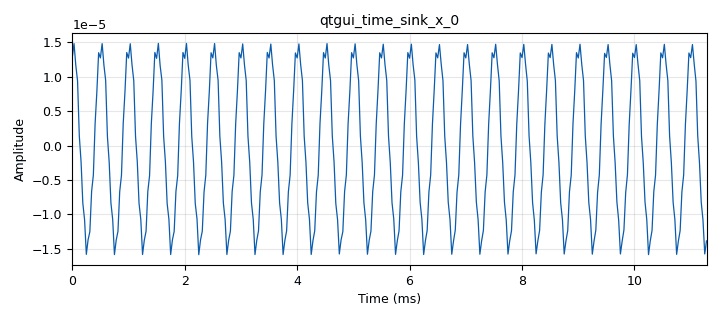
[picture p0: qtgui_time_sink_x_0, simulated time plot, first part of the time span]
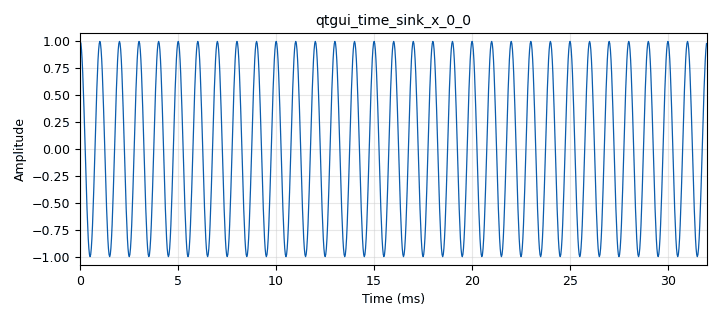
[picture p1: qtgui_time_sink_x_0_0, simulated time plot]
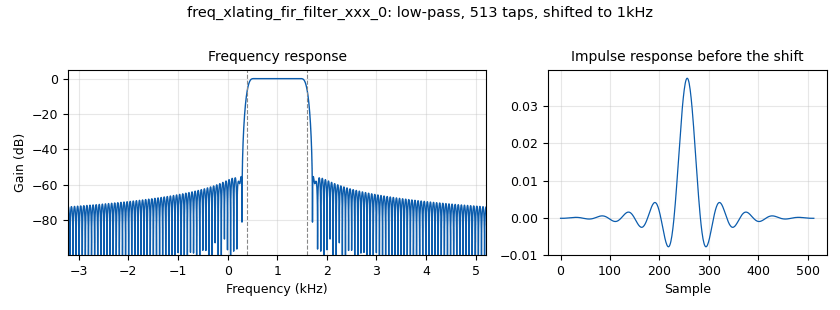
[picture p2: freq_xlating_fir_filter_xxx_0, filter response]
options:
  parameters:
    author: artur
    generate_options: qt_gui
    id: aqwe123
    output_language: python
    title: Not titled yet
  states: {}

blocks:
- name: freq
  id: variable
  parameters:
    value: '1000'
  states: {}
- name: samp_rate
  id: variable
  parameters:
    value: '32000'
  states: {}
- name: analog_quadrature_demod_cf_0
  id: analog_quadrature_demod_cf
  parameters:
    gain: '1'
  states: {}
- name: analog_sig_source_x_0
  id: analog_sig_source_x
  parameters:
    amp: '1'
    freq: freq
    offset: '0'
    phase: '0'
    samp_rate: samp_rate
    type: float
    waveform: analog.GR_COS_WAVE
  states: {}
- name: blocks_throttle_0
  id: blocks_throttle
  parameters:
    samples_per_second: samp_rate
    type: float
  states: {}
- name: freq_xlating_fir_filter_xxx_0
  id: freq_xlating_fir_filter_xxx
  parameters:
    center_freq: freq
    decim: '1'
    samp_rate: samp_rate
    taps: firdes.low_pass(1.0,samp_rate,600,150)
    type: fcf
  states: {}
- name: qtgui_time_sink_x_0
  id: qtgui_time_sink_x
  parameters:
    autoscale: 'True'
    size: '1024'
    srate: samp_rate
    type: float
  states: {}
- name: qtgui_time_sink_x_0_0
  id: qtgui_time_sink_x
  parameters:
    size: '1024'
    srate: samp_rate
    type: float
  states: {}

connections:
- [analog_quadrature_demod_cf_0, '0', qtgui_time_sink_x_0, '0']
- [analog_sig_source_x_0, '0', blocks_throttle_0, '0']
- [analog_sig_source_x_0, '0', qtgui_time_sink_x_0_0, '0']
- [blocks_throttle_0, '0', freq_xlating_fir_filter_xxx_0, '0']
- [freq_xlating_fir_filter_xxx_0, '0', analog_quadrature_demod_cf_0, '0']

metadata:
  file_format: 1
